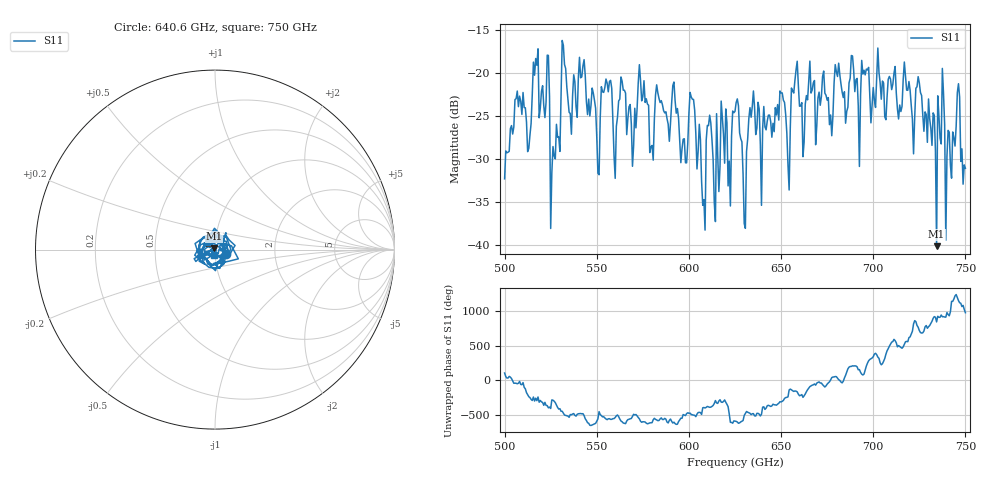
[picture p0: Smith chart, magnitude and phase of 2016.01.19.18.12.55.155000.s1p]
!Created with skrf (http://scikit-rf.org).
# GHz S RI R 50.0
!freq ReS11 ImS11
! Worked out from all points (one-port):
!   401 points, 500 GHz to 750 GHz, reference 50 ohm
!   lowest |S11| = -40.1 dB at 734.4 GHz (marker M1), VSWR 1.02, Z = 49.4 + j0.784 ohm
!   |S11| at or under -10 dB: start of sweep to end of sweep
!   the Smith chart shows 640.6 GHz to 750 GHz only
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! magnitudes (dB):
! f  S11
! 500 GHz  -32.3
! 506.9 GHz  -22.1
! 513.1 GHz  -28.8
! 516.9 GHz  -18.3
! 523.1 GHz  -17.9
! 526.2 GHz  -28.5
! 531.2 GHz  -16.2
! 541.9 GHz  -20.4
! 550.6 GHz  -31.6
! 553.8 GHz  -22.3
! 560 GHz  -32.2
! 562.5 GHz  -23.0
! 593.8 GHz  -24.1
! 601.9 GHz  -23.0
! 608.1 GHz  -34.7
! 610.6 GHz  -26.1
! 615 GHz  -24.7
! 625 GHz  -24.5
! 630 GHz  -37.5
! 634.4 GHz  -23.9
! 650.6 GHz  -22.3
! 653.8 GHz  -30.7
! 656.2 GHz  -22.1
! 687.5 GHz  -20.6
! 718.8 GHz  -22.0
! 734.4 GHz  -40.1
! 745.6 GHz  -22.3
! 750 GHz  -31.1
